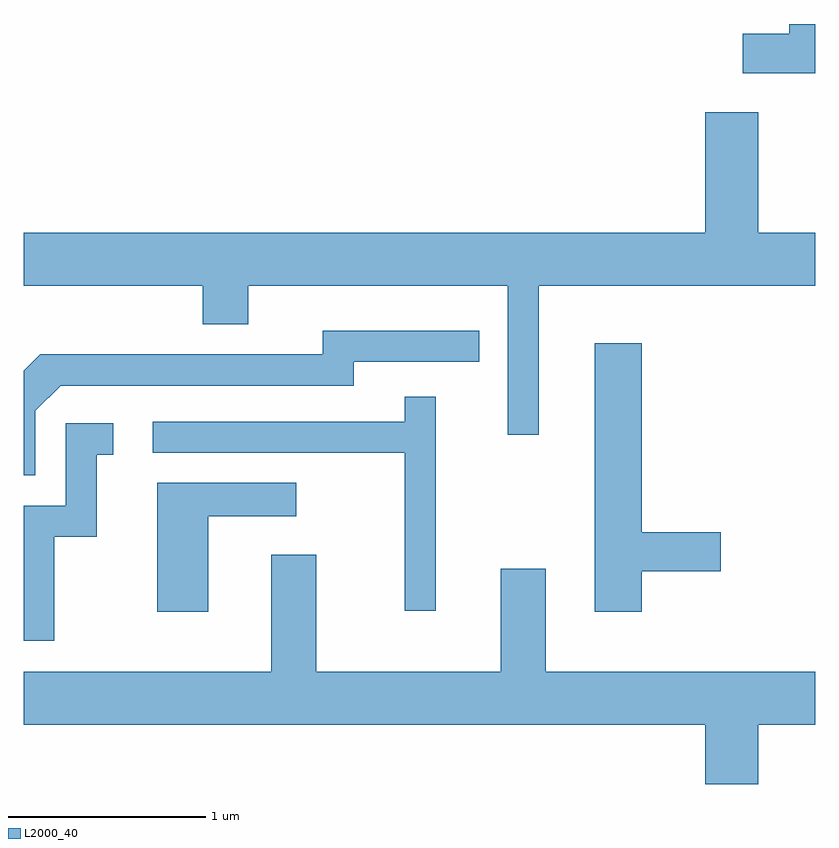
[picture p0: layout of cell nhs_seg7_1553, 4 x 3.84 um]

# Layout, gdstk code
import gdstk
lib = gdstk.Library(unit=1e-6, precision=1e-09)
def P(c, l, *ps):  # polygons
    for p in ps: c.add(gdstk.Polygon(p, *l))
L2000_40 = (2000, 40)

nhs_seg7_1553 = lib.new_cell('nhs_seg7_1553')
P(nhs_seg7_1553, L2000_40, [(235.611,1782.239),(235.481,1782.239),(235.481,1782.189),(235.246,1782.189),(235.246,1781.991),(235.611,1781.991)],
  [(234.214,1780.916),(235.611,1780.916),(235.611,1781.184),(235.324,1781.184),(235.324,1781.794),(235.056,1781.794),(235.056,1781.184),(231.611,1781.184),(231.611,1780.916),(232.516,1780.916),(232.516,1780.721),(232.744,1780.721),(232.744,1780.916),(234.056,1780.916),(234.056,1780.163),(234.214,1780.163)],
  [(231.669,1780.284),(231.797,1780.411),(233.279,1780.411),(233.279,1780.531),(233.913,1780.531),(233.913,1780.689),(233.121,1780.689),(233.121,1780.569),(231.694,1780.569),(231.611,1780.486),(231.611,1779.956),(231.669,1779.956)],
  [(234.734,1779.471),(235.134,1779.471),(235.134,1779.669),(234.734,1779.669),(234.734,1780.624),(234.496,1780.624),(234.496,1779.266),(234.734,1779.266)],
  [(233.694,1780.353),(233.536,1780.353),(233.536,1780.229),(232.263,1780.229),(232.263,1780.071),(233.536,1780.071),(233.536,1779.273),(233.694,1779.273)],
  [(231.764,1779.646),(231.979,1779.646),(231.979,1780.061),(232.063,1780.061),(232.063,1780.219),(231.821,1780.219),(231.821,1779.804),(231.611,1779.804),(231.611,1779.121),(231.764,1779.121)],
  [(232.544,1779.751),(232.988,1779.751),(232.988,1779.919),(232.286,1779.919),(232.286,1779.266),(232.544,1779.266)],
  [(235.324,1778.696),(235.611,1778.696),(235.611,1778.964),(234.249,1778.964),(234.249,1779.484),(234.021,1779.484),(234.021,1778.964),(233.089,1778.964),(233.089,1779.554),(232.861,1779.554),(232.861,1778.964),(231.611,1778.964),(231.611,1778.696),(235.056,1778.696),(235.056,1778.396),(235.324,1778.396)])

lib.write_gds('nhs_seg7_1553.gds')
